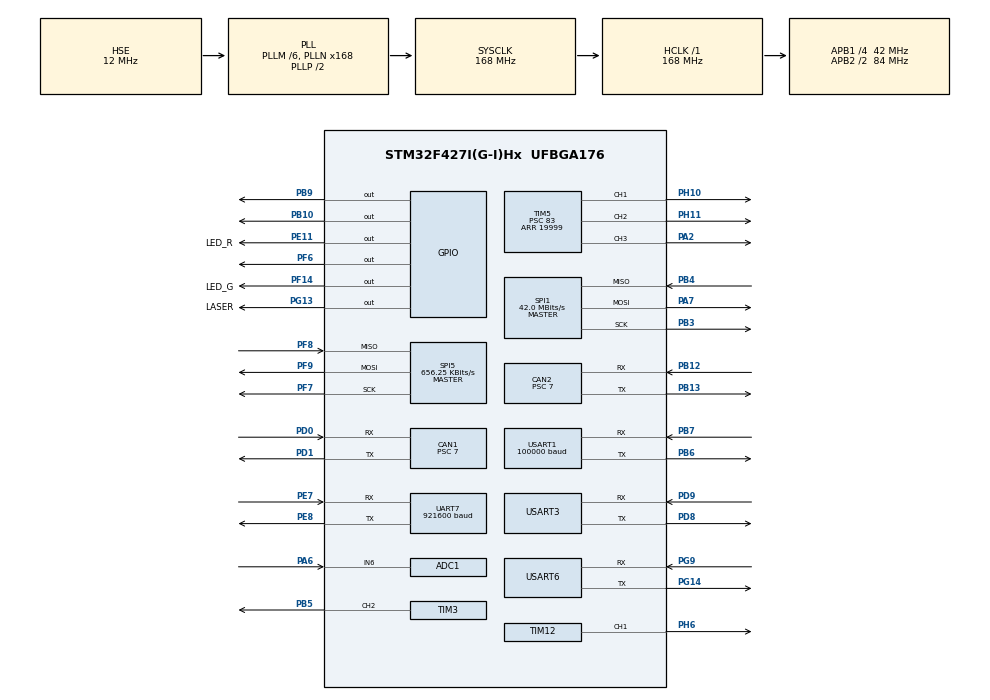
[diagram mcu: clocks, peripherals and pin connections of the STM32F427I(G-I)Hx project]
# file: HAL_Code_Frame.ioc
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ADC1.Channel-6\#ChannelRegularConversion=ADC_CHANNEL_6
ADC1.NbrOfConversionFlag=1
ADC1.Rank-6\#ChannelRegularConversion=1
ADC1.Resolution=ADC_RESOLUTION_12B
ADC1.SamplingTime-6\#ChannelRegularConversion=ADC_SAMPLETIME_15CYCLES
ADC1.master=1
CAN1.ABOM=ENABLE
CAN1.AWUM=ENABLE
CAN1.BS1=CAN_BS1_3TQ
CAN1.BS2=CAN_BS2_2TQ
CAN1.CalculateTimeQuantum=166.66666666666669
CAN1.NART=ENABLE
CAN1.Prescaler=7
CAN2.ABOM=ENABLE
CAN2.AWUM=ENABLE
CAN2.BS1=CAN_BS1_3TQ
CAN2.BS2=CAN_BS2_2TQ
CAN2.CalculateTimeQuantum=166.66666666666669
CAN2.NART=ENABLE
CAN2.Prescaler=7
CAN2.TXFP=DISABLE
Dma.Request0=UART7_RX
Dma.Request1=USART1_RX
Dma.Request2=USART3_RX
Dma.UART7_RX.0.Direction=DMA_PERIPH_TO_MEMORY
Dma.UART7_RX.0.FIFOMode=DMA_FIFOMODE_DISABLE
Dma.UART7_RX.0.Instance=DMA1_Stream3
Dma.UART7_RX.0.MemDataAlignment=DMA_MDATAALIGN_BYTE
Dma.UART7_RX.0.MemInc=DMA_MINC_ENABLE
Dma.UART7_RX.0.Mode=DMA_CIRCULAR
Dma.UART7_RX.0.PeriphDataAlignment=DMA_PDATAALIGN_BYTE
Dma.UART7_RX.0.PeriphInc=DMA_PINC_DISABLE
Dma.UART7_RX.0.Priority=DMA_PRIORITY_MEDIUM
Dma.USART1_RX.1.Direction=DMA_PERIPH_TO_MEMORY
Dma.USART1_RX.1.FIFOMode=DMA_FIFOMODE_DISABLE
Dma.USART1_RX.1.Instance=DMA2_Stream2
Dma.USART1_RX.1.MemDataAlignment=DMA_MDATAALIGN_BYTE
Dma.USART1_RX.1.MemInc=DMA_MINC_ENABLE
Dma.USART1_RX.1.Mode=DMA_CIRCULAR
Dma.USART1_RX.1.PeriphDataAlignment=DMA_PDATAALIGN_BYTE
Dma.USART1_RX.1.PeriphInc=DMA_PINC_DISABLE
Dma.USART1_RX.1.Priority=DMA_PRIORITY_LOW
Dma.USART3_RX.2.Direction=DMA_PERIPH_TO_MEMORY
Dma.USART3_RX.2.FIFOMode=DMA_FIFOMODE_DISABLE
Dma.USART3_RX.2.Instance=DMA1_Stream1
Dma.USART3_RX.2.MemDataAlignment=DMA_MDATAALIGN_BYTE
Dma.USART3_RX.2.MemInc=DMA_MINC_ENABLE
Dma.USART3_RX.2.Mode=DMA_CIRCULAR
Dma.USART3_RX.2.PeriphDataAlignment=DMA_PDATAALIGN_BYTE
Dma.USART3_RX.2.PeriphInc=DMA_PINC_DISABLE
Dma.USART3_RX.2.Priority=DMA_PRIORITY_LOW
FREERTOS.INCLUDE_vTaskDelayUntil=1
FREERTOS.Queues01=CAN1_Receive,32,Can_Export_Data_t,0,Dynamic,NULL,NULL;CAN2_Receive,32,Can_Export_Data_t,0,Dynamic,NULL,NULL;CAN_Send,32,Can_Send_Data_t,0,Dynamic,NULL,NULL
FREERTOS.Tasks01=Task_Condition,-1,128,ALL_Send,Default,NULL,Dynamic,NULL,NULL;Task_Can1MsgRec,2,256,Can1Receives,As external,NULL,Dynamic,NULL,NULL;Task_Can2MsgRec,2,256,Can2Receives,As external,NULL,Dynamic,NULL,NULL;Task_Sampling,2,384,Fixed_Sampling,As external,NULL,Dynamic,NULL,NULL;Task_USART,0,128,Test,As external,NULL,Dynamic,NULL,NULL;Task_Init,0,128,All_Init,Default,NULL,Dynamic,NULL,NULL;Task_Monitor,1,128,Detect,As external,NULL,Dynamic,NULL,NULL;Task_Oled,-1,128,DJI_OLED,As external,NULL,Dynamic,NULL,NULL;Task_CanSend,2,256,AllCanSend,As external,NULL,Dynamic,NULL,NULL
IWDG.Prescaler=IWDG_PRESCALER_8
Mcu.Family=STM32F4
Mcu.Name=STM32F427I(G-I)Hx
Mcu.Package=UFBGA176
NVIC.CAN1_RX0_IRQn=true\:6\:0\:true\:false\:true\:false\:true\:false
NVIC.CAN2_RX0_IRQn=true\:6\:0\:true\:false\:true\:false\:true\:false
NVIC.DMA1_Stream1_IRQn=true\:0\:0\:false\:false\:true\:true\:false\:false
NVIC.DMA1_Stream3_IRQn=true\:0\:0\:false\:false\:true\:true\:false\:false
NVIC.DMA2_Stream2_IRQn=true\:0\:0\:false\:false\:true\:true\:false\:false
NVIC.PriorityGroup=NVIC_PRIORITYGROUP_4
NVIC.TIM6_DAC_IRQn=true\:0\:0\:false\:false\:true\:false\:false\:true
NVIC.TimeBase=TIM6_DAC_IRQn
NVIC.TimeBaseIP=TIM6
NVIC.UART7_IRQn=true\:5\:0\:true\:false\:true\:false\:true\:false
NVIC.USART1_IRQn=true\:5\:0\:true\:false\:true\:false\:true\:false
NVIC.USART3_IRQn=true\:5\:0\:true\:false\:true\:false\:true\:false
PA13.Mode=Serial_Wire
PA13.Signal=SYS_JTMS-SWDIO
PA14.Mode=Serial_Wire
PA14.Signal=SYS_JTCK-SWCLK
PA2.Signal=S_TIM5_CH3
PA6.Signal=ADCx_IN6
PA7.Mode=Full_Duplex_Master
PA7.Signal=SPI1_MOSI
PB10.Signal=GPIO_Output
PB12.Mode=Slave
PB12.Signal=CAN2_RX
PB13.Mode=Slave
PB13.Signal=CAN2_TX
PB3.Mode=Full_Duplex_Master
PB3.Signal=SPI1_SCK
PB4.Mode=Full_Duplex_Master
PB4.Signal=SPI1_MISO
PB5.Signal=S_TIM3_CH2
PB6.GPIO_PuPd=GPIO_PULLUP
PB6.Mode=Asynchronous
PB6.Signal=USART1_TX
PB7.GPIO_PuPd=GPIO_PULLUP
PB7.Mode=Asynchronous
PB7.Signal=USART1_RX
PB9.Signal=GPIO_Output
PD0.Mode=Master
PD0.Signal=CAN1_RX
PD1.Mode=Master
PD1.Signal=CAN1_TX
PD8.Mode=Asynchronous
PD8.Signal=USART3_TX
PD9.Mode=Asynchronous
PD9.Signal=USART3_RX
PE11.GPIO_Label=LED_R
PE11.Signal=GPIO_Output
PE7.Mode=Asynchronous
PE7.Signal=UART7_RX
PE8.Mode=Asynchronous
PE8.Signal=UART7_TX
PF14.GPIO_Label=LED_G
PF14.Signal=GPIO_Output
PF6.GPIO_PuPd=GPIO_PULLUP
PF6.PinState=GPIO_PIN_SET
PF6.Signal=GPIO_Output
PF7.Mode=Full_Duplex_Master
PF7.Signal=SPI5_SCK
PF8.Mode=Full_Duplex_Master
PF8.Signal=SPI5_MISO
PF9.Mode=Full_Duplex_Master
PF9.Signal=SPI5_MOSI
PG13.GPIO_Label=LASER
PG13.Signal=GPIO_Output
PG14.Mode=Asynchronous
PG14.Signal=USART6_TX
PG9.Mode=Asynchronous
PG9.Signal=USART6_RX
PH0/OSC_IN.Mode=HSE-External-Oscillator
PH0/OSC_IN.Signal=RCC_OSC_IN
PH1/OSC_OUT.Mode=HSE-External-Oscillator
PH1/OSC_OUT.Signal=RCC_OSC_OUT
PH10.Signal=S_TIM5_CH1
PH11.Signal=S_TIM5_CH2
PH6.Signal=S_TIM12_CH1
ProjectManager.HeapSize=0x200
ProjectManager.StackSize=0x400
ProjectManager.TargetToolchain=MDK-ARM V5.27
RCC.48MHZClocksFreq_Value=48000000
RCC.AHBFreq_Value=168000000
RCC.APB1CLKDivider=RCC_HCLK_DIV4
RCC.APB1Freq_Value=42000000
RCC.APB1TimFreq_Value=84000000
RCC.APB2CLKDivider=RCC_HCLK_DIV2
RCC.APB2Freq_Value=84000000
RCC.APB2TimFreq_Value=168000000
RCC.CortexFreq_Value=168000000
RCC.HCLKFreq_Value=168000000
RCC.HSE_VALUE=12000000
RCC.HSI_VALUE=16000000
RCC.LSE_VALUE=32768
RCC.PLLM=6
RCC.PLLN=168
RCC.PLLQ=7
RCC.PLLSourceVirtual=RCC_PLLSOURCE_HSE
RCC.SYSCLKFreq_VALUE=168000000
RCC.SYSCLKSource=RCC_SYSCLKSOURCE_PLLCLK
RCC.VCOOutputFreq_Value=336000000
SH.ADCx_IN6.0=ADC1_IN6,IN6
SH.S_TIM12_CH1.0=TIM12_CH1,PWM Generation1 CH1
SH.S_TIM3_CH2.0=TIM3_CH2,PWM Generation2 CH2
SH.S_TIM5_CH1.0=TIM5_CH1,PWM Generation1 CH1
SH.S_TIM5_CH2.0=TIM5_CH2,PWM Generation2 CH2
SH.S_TIM5_CH3.0=TIM5_CH3,PWM Generation3 CH3
SPI1.CalculateBaudRate=42.0 MBits/s
SPI1.Direction=SPI_DIRECTION_2LINES
SPI1.Mode=SPI_MODE_MASTER
SPI1.VirtualType=VM_MASTER
SPI5.BaudRatePrescaler=SPI_BAUDRATEPRESCALER_128
SPI5.CLKPhase=SPI_PHASE_1EDGE
SPI5.CLKPolarity=SPI_POLARITY_LOW
SPI5.CRCCalculation=SPI_CRCCALCULATION_DISABLE
SPI5.CalculateBaudRate=656.25 KBits/s
SPI5.Direction=SPI_DIRECTION_2LINES
SPI5.Mode=SPI_MODE_MASTER
SPI5.VirtualType=VM_MASTER
TIM12.Channel-PWM\ Generation1\ CH1=TIM_CHANNEL_1
TIM12.Period=370
TIM12.Prescaler=130
TIM3.Channel-PWM\ Generation2\ CH2=TIM_CHANNEL_2
TIM3.Period=4999
TIM3.Prescaler=0
TIM5.Channel-PWM\ Generation1\ CH1=TIM_CHANNEL_1
TIM5.Channel-PWM\ Generation2\ CH2=TIM_CHANNEL_2
TIM5.Channel-PWM\ Generation3\ CH3=TIM_CHANNEL_3
TIM5.Period=19999
TIM5.Prescaler=83
TIM5.Pulse-PWM\ Generation1\ CH1=1000
TIM5.Pulse-PWM\ Generation2\ CH2=1000
TIM5.Pulse-PWM\ Generation3\ CH3=1720
UART7.BaudRate=921600
UART7.VirtualMode=Asynchronous
USART1.BaudRate=100000
USART1.VirtualMode=VM_ASYNC
USART3.VirtualMode=VM_ASYNC
USART6.VirtualMode=VM_ASYNC
VP_FREERTOS_VS_CMSIS_V1.Mode=CMSIS_V1
VP_IWDG_VS_IWDG.Mode=IWDG_Activate
VP_RNG_VS_RNG.Mode=RNG_Activate
VP_SYS_VS_tim6.Mode=TIM6
VP_TIM12_VS_ClockSourceINT.Mode=Internal
VP_TIM3_VS_ClockSourceINT.Mode=Internal
VP_TIM5_VS_ClockSourceINT.Mode=Internal
board=custom

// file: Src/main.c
/* USER CODE BEGIN Header */
/**
  ******************************************************************************
  * @file           : main.c
  * @brief          : Main program body
  ******************************************************************************
  * @attention
  *
  * <h2><center>&copy; Copyright (c) 2021 STMicroelectronics.
  * All rights reserved.</center></h2>
  *
  * This software component is licensed by ST under Ultimate Liberty license
  * SLA0044, the "License"; You may not use this file except in compliance with
  * the License. You may obtain a copy of the License at:
  *                             www.st.com/SLA0044
  *
  ******************************************************************************
  */
/* USER CODE END Header */
#include "main.h"
#include "cmsis_os.h"
#include "adc.h"
#include "can.h"
#include "dma.h"
#include "iwdg.h"
#include "rng.h"
#include "spi.h"
#include "tim.h"
#include "usart.h"
#include "gpio.h"

/* USER CODE BEGIN Includes */
#include "DJI_IMU.h"
#include "Flash_Store.h"
#include "Shoot.h"

/* USER CODE END Includes */

void SystemClock_Config(void);
void MX_FREERTOS_Init(void);

int main(void)
{

  /* MCU Configuration--------------------------------------------------------*/

  /* Reset of all peripherals, Initializes the Flash interface and the Systick. */
  HAL_Init();

  /* Configure the system clock */
  SystemClock_Config();

  /* Initialize all configured peripherals */
  MX_GPIO_Init();
  MX_DMA_Init();
  MX_CAN1_Init();
  MX_CAN2_Init();
  MX_TIM5_Init();
  MX_TIM12_Init();
  MX_UART7_Init();
  MX_USART1_UART_Init();
  MX_USART3_UART_Init();
  MX_USART6_UART_Init();
  MX_SPI5_Init();
  MX_ADC1_Init();
  MX_TIM3_Init();
  MX_SPI1_Init();
  MX_RNG_Init();
  MX_IWDG_Init();
  /* USER CODE BEGIN 2 */
#if Calibrate == Calibrate_Off
    DJI_IMUReadOffset(IMU_Offset, IMUOffsetNum);
#endif
  /* USER CODE END 2 */

  /* Call init function for freertos objects (in freertos.c) */
  MX_FREERTOS_Init();
  /* Start scheduler */
  osKernelStart();

  /* We should never get here as control is now taken by the scheduler */
  /* Infinite loop */
    while (1)
    {

    }
}

void SystemClock_Config(void)
{
  RCC_OscInitTypeDef RCC_OscInitStruct = {0};
  RCC_ClkInitTypeDef RCC_ClkInitStruct = {0};

  /** Configure the main internal regulator output voltage
  */
  __HAL_RCC_PWR_CLK_ENABLE();
  __HAL_PWR_VOLTAGESCALING_CONFIG(PWR_REGULATOR_VOLTAGE_SCALE1);
  /** Initializes the RCC Oscillators according to the specified parameters
  * in the RCC_OscInitTypeDef structure.
  */
  RCC_OscInitStruct.OscillatorType = RCC_OSCILLATORTYPE_LSI|RCC_OSCILLATORTYPE_HSE;
  RCC_OscInitStruct.HSEState = RCC_HSE_ON;
  RCC_OscInitStruct.LSIState = RCC_LSI_ON;
  RCC_OscInitStruct.PLL.PLLState = RCC_PLL_ON;
  RCC_OscInitStruct.PLL.PLLSource = RCC_PLLSOURCE_HSE;
  RCC_OscInitStruct.PLL.PLLM = 6;
  RCC_OscInitStruct.PLL.PLLN = 168;
  RCC_OscInitStruct.PLL.PLLP = RCC_PLLP_DIV2;
  RCC_OscInitStruct.PLL.PLLQ = 7;
  if (HAL_RCC_OscConfig(&RCC_OscInitStruct) != HAL_OK)
  {
    Error_Handler();
  }
  /** Initializes the CPU, AHB and APB buses clocks
  */
  RCC_ClkInitStruct.ClockType = RCC_CLOCKTYPE_HCLK|RCC_CLOCKTYPE_SYSCLK
                              |RCC_CLOCKTYPE_PCLK1|RCC_CLOCKTYPE_PCLK2;
  RCC_ClkInitStruct.SYSCLKSource = RCC_SYSCLKSOURCE_PLLCLK;
  RCC_ClkInitStruct.AHBCLKDivider = RCC_SYSCLK_DIV1;
  RCC_ClkInitStruct.APB1CLKDivider = RCC_HCLK_DIV4;
  RCC_ClkInitStruct.APB2CLKDivider = RCC_HCLK_DIV2;

  if (HAL_RCC_ClockConfig(&RCC_ClkInitStruct, FLASH_LATENCY_5) != HAL_OK)
  {
    Error_Handler();
  }
}

void HAL_TIM_PeriodElapsedCallback(TIM_HandleTypeDef *htim)
{
  if (htim->Instance == TIM6) {
    HAL_IncTick();
  }
}

void Error_Handler(void)
{
}

/************************ (C) COPYRIGHT STMicroelectronics *****END OF FILE****/

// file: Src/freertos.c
/* USER CODE BEGIN Header */
/**
  ******************************************************************************
  * File Name          : freertos.c
  * Description        : Code for freertos applications
  ******************************************************************************
  * @attention
  *
  * <h2><center>&copy; Copyright (c) 2021 STMicroelectronics.
  * All rights reserved.</center></h2>
  *
  * This software component is licensed by ST under Ultimate Liberty license
  * SLA0044, the "License"; You may not use this file except in compliance with
  * the License. You may obtain a copy of the License at:
  *                             www.st.com/SLA0044
  *
  ******************************************************************************
  */
/* USER CODE END Header */

#include "FreeRTOS.h"
#include "cmsis_os.h"
#include "main.h"
#include "task.h"

/* USER CODE BEGIN Includes */
#include "BSP_ADC.h"
#include "BSP_CAN.h"
#include "BSP_TIM.h"
#include "BSP_USART.h"
#include "Chassis_control.h"
#include "Cloud_control.h"
#include "Control_Vision.h"
#include "DJI_C_IMU.h"
#include "DJI_IMU.h"
#include "DR16_Remote.h"
#include "DevicesMonitor.h"
#include "Flash_Store.h"
#include "IMU_Compensate.h"
#include "OLED.h"
#include "PVD.h"
#include "RMClient_UI.h"
#include "RM_JudgeSystem.h"
#include "Robot_Config.h"
#include "Robot_control.h"
#include "Shoot.h"
#include "Wolf_GyIMU.h"
/* USER CODE END Includes */

/* USER CODE BEGIN Variables */
osThreadId Task_ControlHandle;

/* USER CODE END Variables */
osThreadId Task_ConditionHandle;
osThreadId Task_Can1MsgRecHandle;
osThreadId Task_Can2MsgRecHandle;
osThreadId Task_SamplingHandle;
osThreadId Task_USARTHandle;
osThreadId Task_InitHandle;
osThreadId Task_MonitorHandle;
osThreadId Task_OledHandle;
osThreadId Task_CanSendHandle;
osMessageQId CAN1_ReceiveHandle;
osMessageQId CAN2_ReceiveHandle;
osMessageQId CAN_SendHandle;

/* USER CODE BEGIN FunctionPrototypes */
extern void RobotControl(void const *argument);

/* USER CODE END FunctionPrototypes */

void ALL_Send(void const *argument);
extern void Can1Receives(void const *argument);
extern void Can2Receives(void const *argument);
extern void Fixed_Sampling(void const *argument);
extern void Test(void const *argument);
void All_Init(void const *argument);
extern void Detect(void const *argument);
extern void DJI_OLED(void const *argument);
extern void AllCanSend(void const *argument);

void MX_FREERTOS_Init(void); /* (MISRA C 2004 rule 8.1) */

/* GetIdleTaskMemory prototype (linked to static allocation support) */
void vApplicationGetIdleTaskMemory(StaticTask_t **ppxIdleTaskTCBBuffer, StackType_t **ppxIdleTaskStackBuffer, uint32_t *pulIdleTaskStackSize);

/* USER CODE BEGIN GET_IDLE_TASK_MEMORY */
static StaticTask_t xIdleTaskTCBBuffer;
static StackType_t xIdleStack[configMINIMAL_STACK_SIZE];

void vApplicationGetIdleTaskMemory(StaticTask_t **ppxIdleTaskTCBBuffer, StackType_t **ppxIdleTaskStackBuffer, uint32_t *pulIdleTaskStackSize)
{
    *ppxIdleTaskTCBBuffer = &xIdleTaskTCBBuffer;
    *ppxIdleTaskStackBuffer = &xIdleStack[0];
    *pulIdleTaskStackSize = configMINIMAL_STACK_SIZE;
    /* place for user code */
}
/* USER CODE END GET_IDLE_TASK_MEMORY */

void MX_FREERTOS_Init(void)
{

    /* Create the queue(s) */
    /* definition and creation of CAN1_Receive */
    osMessageQDef(CAN1_Receive, 32, Can_Export_Data_t);
    CAN1_ReceiveHandle = osMessageCreate(osMessageQ(CAN1_Receive), NULL);

    /* definition and creation of CAN2_Receive */
    osMessageQDef(CAN2_Receive, 32, Can_Export_Data_t);
    CAN2_ReceiveHandle = osMessageCreate(osMessageQ(CAN2_Receive), NULL);

    /* definition and creation of CAN_Send */
    osMessageQDef(CAN_Send, 32, Can_Send_Data_t);
    CAN_SendHandle = osMessageCreate(osMessageQ(CAN_Send), NULL);

    /* Create the thread(s) */
    /* definition and creation of Task_Condition */
    osThreadDef(Task_Condition, ALL_Send, osPriorityBelowNormal, 0, 128);
    Task_ConditionHandle = osThreadCreate(osThread(Task_Condition), NULL);

    /* definition and creation of Task_Can1MsgRec */
    osThreadDef(Task_Can1MsgRec, Can1Receives, osPriorityHigh, 0, 256);
    Task_Can1MsgRecHandle = osThreadCreate(osThread(Task_Can1MsgRec), NULL);

    /* definition and creation of Task_Can2MsgRec */
    osThreadDef(Task_Can2MsgRec, Can2Receives, osPriorityHigh, 0, 256);
    Task_Can2MsgRecHandle = osThreadCreate(osThread(Task_Can2MsgRec), NULL);

    /* definition and creation of Task_Sampling */
    osThreadDef(Task_Sampling, Fixed_Sampling, osPriorityHigh, 0, 384);
    Task_SamplingHandle = osThreadCreate(osThread(Task_Sampling), NULL);

    /* definition and creation of Task_USART */
    osThreadDef(Task_USART, Test, osPriorityNormal, 0, 128);
    Task_USARTHandle = osThreadCreate(osThread(Task_USART), NULL);

    /* definition and creation of Task_Init */
    osThreadDef(Task_Init, All_Init, osPriorityNormal, 0, 128);
    Task_InitHandle = osThreadCreate(osThread(Task_Init), NULL);

    /* definition and creation of Task_Monitor */
    osThreadDef(Task_Monitor, Detect, osPriorityAboveNormal, 0, 128);
    Task_MonitorHandle = osThreadCreate(osThread(Task_Monitor), NULL);

    /* definition and creation of Task_Oled */
    osThreadDef(Task_Oled, DJI_OLED, osPriorityBelowNormal, 0, 128);
    Task_OledHandle = osThreadCreate(osThread(Task_Oled), NULL);

    /* definition and creation of Task_CanSend */
    osThreadDef(Task_CanSend, AllCanSend, osPriorityHigh, 0, 256);
    Task_CanSendHandle = osThreadCreate(osThread(Task_CanSend), NULL);

}

void ALL_Send(void const *argument)
{
    /* USER CODE BEGIN ALL_Send */
    /* Infinite loop */
    for (;;)
    {
        //视觉数据发送
        Control_Vision_FUN.Update_VisionTarget();

        UserDefined_UI();

        osDelay(1);
    }
    /* USER CODE END ALL_Send */
}

void All_Init(void const *argument)
{
    /* USER CODE BEGIN All_Init */
    /* Infinite loop */
    Robot.WorkStatus = WorkStatus_Disable;
    DevicesMonitor_FUN.DevicesMonitor_Init();
    //PWR初始化
    PVD_Config();
    //A板陀螺仪温控初始化
    HAL_TIM_PWM_Start(&htim3, TIM_CHANNEL_2);
    IMU_CompensateFUN.Preserve_temp(/* ADC_FUN.get_temprate() */ 40); //温度校准
    DJI_IMUFUN.DJI_IMU_Init();
#if Calibrate == Calibrate_On
    DJI_IMUWriteOffset(IMUwriteFlashData, IMUOffsetNum);
#endif
    // 摩擦轮初始化
    HAL_TIM_PWM_Start(&htim5, TIM_CHANNEL_1);
    HAL_TIM_PWM_Start(&htim5, TIM_CHANNEL_2);
    HAL_TIM_PWM_Start(&htim5, TIM_CHANNEL_3);
#if Infantry_Year == Infantry_2020
    __HAL_TIM_SetCompare(&htim5, TIM_CHANNEL_3, 1720); //关弹仓。
#elif Infantry_Year == Infantry_2021
    __HAL_TIM_SetCompare(&htim5, TIM_CHANNEL_3, 2050); //关弹仓。
#endif
    // 串口1初始化
    DR16_Fun.DR16_USART_Receive_DMA(&huart1);
    //CAN中断初始化
    Can_Fun.CAN_IT_Init(&hcan1, Can1_Type);
    Can_Fun.CAN_IT_Init(&hcan2, Can2_Type);
    //串口3初始化
    JudgeSystem_FUN.JudgeSystem_USART_Receive_DMA(&huart3);
    // 上位机初始化
    USART_Fun.DMA_USART_Send_IT_Init(&huart6);
    // 串口7初始化
    Control_Vision_FUN.Vision_USART_Receive_DMA(&huart7);

#ifdef Temporary_Function
    // OLED初始化
    oled_init();
#endif
    DevicesMonitor_FUN.Buzzer_On(true,270);
    HAL_Delay(1000);
    DevicesMonitor_FUN.Buzzer_On(false,270);
    HAL_Delay(1000);
    DevicesMonitor_FUN.Buzzer_On(true,270);
    HAL_Delay(1000);
    DevicesMonitor_FUN.Buzzer_On(false,270);
    Shoot_Fun.FricRead(); //读取Flash数据或扇区擦除功能

    taskENTER_CRITICAL(); //进入临界区
    Robot_control_FUN.Robot_init();
    Control_Vision_FUN.Vision_Init();
    Wolf_GyIMU_Fun.GY6050_Init(&IMUExport_Cloud, &IMUExport_Chassis);
    Chassis_FUN.Chassis_Init();
    Cloud_FUN.Cloud_Init();
    Shoot_Fun.Shoot_Init();
    Wolf_GyIMU_Fun.GY6050_Init(&IMUExport_Cloud, &IMUExport_Chassis);

    osThreadDef(Task_Control, RobotControl, osPriorityRealtime, 0, 600);
    Task_ControlHandle = osThreadCreate(osThread(Task_Control), NULL);

    Robot.WorkStatus = WorkStatus_Normal; //初始化完成，机器人从这里之后才能动。
    RoboInit_Complete = 1;                //初始化结束
    vTaskDelete(NULL);                    //删除当前任务。
    taskEXIT_CRITICAL();                  //退出临界区
                                          /* USER CODE END All_Init */
}

/************************ (C) COPYRIGHT STMicroelectronics *****END OF FILE****/
